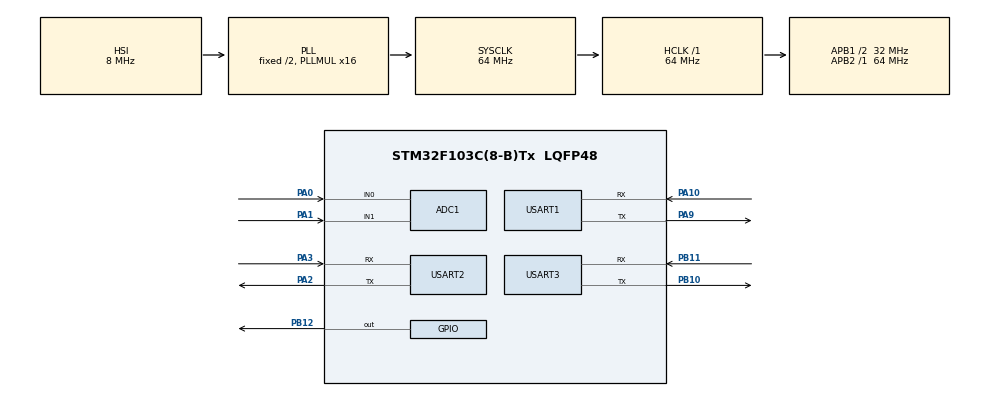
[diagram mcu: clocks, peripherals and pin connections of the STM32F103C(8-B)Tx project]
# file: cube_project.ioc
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ADC1.Channel-0\#ChannelRegularConversion=ADC_CHANNEL_0
ADC1.Channel-1\#ChannelRegularConversion=ADC_CHANNEL_1
ADC1.ContinuousConvMode=DISABLE
ADC1.DiscontinuousConvMode=ENABLE
ADC1.InjNumberOfConversion=0
ADC1.NbrOfConversion=2
ADC1.NbrOfConversionFlag=1
ADC1.Rank-0\#ChannelRegularConversion=1
ADC1.Rank-1\#ChannelRegularConversion=2
ADC1.SamplingTime-0\#ChannelRegularConversion=ADC_SAMPLETIME_1CYCLE_5
ADC1.SamplingTime-1\#ChannelRegularConversion=ADC_SAMPLETIME_1CYCLE_5
ADC1.master=1
Mcu.Family=STM32F1
Mcu.Name=STM32F103C(8-B)Tx
Mcu.Package=LQFP48
NVIC.PriorityGroup=NVIC_PRIORITYGROUP_4
NVIC.TIM3_IRQn=true\:0\:0\:false\:false\:true\:true\:true
NVIC.USART1_IRQn=true\:0\:0\:false\:false\:true\:true\:true
NVIC.USART2_IRQn=true\:0\:0\:false\:false\:true\:true\:true
NVIC.USART3_IRQn=true\:0\:0\:false\:false\:true\:true\:true
PA0-WKUP.Signal=ADCx_IN0
PA1.Signal=ADCx_IN1
PA10.Mode=Asynchronous
PA10.Signal=USART1_RX
PA2.Mode=Asynchronous
PA2.Signal=USART2_TX
PA3.Mode=Asynchronous
PA3.Signal=USART2_RX
PA9.Mode=Asynchronous
PA9.Signal=USART1_TX
PB10.Mode=Asynchronous
PB10.Signal=USART3_TX
PB11.Mode=Asynchronous
PB11.Signal=USART3_RX
PB12.Signal=GPIO_Output
ProjectManager.HeapSize=0x200
ProjectManager.StackSize=0x400
ProjectManager.TargetToolchain=MDK-ARM V5
RCC.ADCPresc=RCC_ADCPCLK2_DIV6
RCC.AHBFreq_Value=64000000
RCC.APB1CLKDivider=RCC_HCLK_DIV2
RCC.APB1Freq_Value=32000000
RCC.APB1TimFreq_Value=64000000
RCC.APB2Freq_Value=64000000
RCC.APB2TimFreq_Value=64000000
RCC.HCLKFreq_Value=64000000
RCC.PLLMUL=RCC_PLL_MUL16
RCC.SYSCLKFreq_VALUE=64000000
RCC.SYSCLKSource=RCC_SYSCLKSOURCE_PLLCLK
RCC.USBFreq_Value=64000000
SH.ADCx_IN0.0=ADC1_IN0,IN0
SH.ADCx_IN1.0=ADC1_IN1,IN1
TIM3.AutoReloadPreload=TIM_AUTORELOAD_PRELOAD_DISABLE
TIM3.Period=3200-1
TIM3.Prescaler=1000
USART1.VirtualMode=VM_ASYNC
USART2.VirtualMode=VM_ASYNC
USART3.VirtualMode=VM_ASYNC
VP_SYS_VS_ND.Mode=No_Debug
VP_TIM3_VS_ClockSourceINT.Mode=Internal
board=custom

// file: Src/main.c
/* USER CODE BEGIN Header */
/**
  ******************************************************************************
  * @file           : main.c
  * @brief          : Main program body
  ******************************************************************************
  * @attention
  *
  * <h2><center>&copy; Copyright (c) 2019 STMicroelectronics.
  * All rights reserved.</center></h2>
  *
  * This software component is licensed by ST under BSD 3-Clause license,
  * the "License"; You may not use this file except in compliance with the
  * License. You may obtain a copy of the License at:
  *                        opensource.org/licenses/BSD-3-Clause
  *
  ******************************************************************************
  */
/* USER CODE END Header */

#include "main.h"
#include "adc.h"
#include "tim.h"
#include "usart.h"
#include "gpio.h"

/* USER CODE BEGIN Includes */
//#define DEBUG_ON
/* USER CODE END Includes */

/* USER CODE BEGIN PV */
uint8_t aRxBuffer1[1];
uint8_t aRxBuffer2[1];
uint8_t aRxBuffer3[1];

unsigned char imu1_buf[33];
unsigned char imu2_buf[33];
unsigned char has_data_uart2 = 0;
unsigned char has_data_uart3 = 0;

/* USER CODE END PV */

void SystemClock_Config(void);

/* USER CODE BEGIN 0 */

#define IMU_DATA_LEN   35

//0-2 acc; 3-5 speed; 6-8 angle;
float imu1_data[9]= {0,0,0,0,0,0,0,0,0};
float imu2_data[9]= {0,0,0,0,0,0,0,0,0};

unsigned char imu1_to_pc_buf[IMU_DATA_LEN];  // send to pc
unsigned char imu2_to_pc_buf[IMU_DATA_LEN];
unsigned char adc1_to_pc_buf[IMU_DATA_LEN];             // head num low high check
unsigned char adc2_to_pc_buf[IMU_DATA_LEN];
unsigned char imu_state = 0;
unsigned int adc_value[4] = {0,0,0,0};

unsigned char my_memcpy(unsigned char *dst, const unsigned char *src, unsigned char count)
{
	if (NULL == dst || NULL == src)
		return 1;
	while(count--)
	{
		*dst++ = *src++;
	}
	return 0;
}

int check_sum(unsigned char *buf)
{
	unsigned char sum = 0;
	int i = 0;

	for (i = 0; i < 10; i++) {
		sum += buf[i];
	}

	if (sum == buf[i]) {
		//printf("check ok.\n");
		return 0;
	}
	else
		return -1;
}

void check_imu(unsigned char *buf, unsigned char id)
{
	unsigned char *temp_buf = 0;
	unsigned char *temp = 0;
	float *imu = 0;

	if(1 == id) {
		imu_state = imu_state | 0x01;
		temp = imu1_to_pc_buf;
		imu = imu1_data;
		temp[0] = 0xAA;  // head
		temp[1] = 0xA1;  // imu1
	} else if(2 == id) {
		imu_state = imu_state | 0x02;
		temp = imu2_to_pc_buf;
		imu = imu2_data;
		temp[0] = 0xAA;  // head
		temp[1] = 0xA2;  // imu2
	}

	my_memcpy((temp+2), buf, 33);
	temp_buf = temp + 2;

	if (check_sum(temp_buf) || check_sum(temp_buf+11) || check_sum(temp_buf+22)) {
		//printf("=====check sum failed. id: %d.\n", id);

		if (1 == id)
			imu_state &= ~0x01;
		else
			imu_state &= ~0x02;
		return;
	}

	if(temp_buf[0]==0x55 && temp_buf[1]==0x51
		&& temp_buf[11]==0x55 && temp_buf[12]==0x52
	    && temp_buf[22]==0x55 && temp_buf[23]==0x53 )
	{
		imu[0] = ((short)(temp_buf[3]<<8 | temp_buf[2]))/32768.0*16;        // X acc
		imu[1] = ((short)(temp_buf[5]<<8 | temp_buf[4]))/32768.0*16;        // Y
		imu[2] = ((short)(temp_buf[7]<<8 | temp_buf[6]))/32768.0*16;        // Z

		imu[3] = ((short)(temp_buf[14]<<8| temp_buf[13]))/32768.0*2000;     // X speed
		imu[4] = ((short)(temp_buf[16]<<8| temp_buf[15]))/32768.0*2000;     // Y
		imu[5] = ((short)(temp_buf[18]<<8| temp_buf[17]))/32768.0*2000;     // Z

		imu[6] = ((short)(temp_buf[25]<<8| temp_buf[24]))/32768.0*180;      // X angle
		imu[7] = ((short)(temp_buf[27]<<8| temp_buf[26]))/32768.0*180;      // Y
		imu[8] = ((short)(temp_buf[29]<<8| temp_buf[28]))/32768.0*180;      // Z

//		if (2 == id)
//			printf("id: %d. \t angle: %.2f \t %.2f \t %.2f \r\n", id, imu[6], imu[7], imu[8]);

	}
}

void pack_adc_buf(unsigned char *buf, unsigned int value, int id)
{
    int i = 0;
    buf[0] = 0xAA;
    buf[1] = 0xB1 + id;
    buf[2] = (value & 0x00ff); // low
    buf[3] = (value >> 8);
    buf[4] = buf[0] + buf[1] + buf[2] + buf[3];

    for(i = 5; i< IMU_DATA_LEN; i++){
        buf[i] = 0;
    }
}

void twinking_led(unsigned char num)
{
    while(num--) {
        HAL_GPIO_WritePin(GPIOB, GPIO_PIN_12, GPIO_PIN_RESET); // LED on
        HAL_Delay(100);
        HAL_GPIO_WritePin(GPIOB, GPIO_PIN_12, GPIO_PIN_SET); // LED off
    }
}

/* USER CODE END 0 */

int main(void)
{
  /* USER CODE BEGIN 1 */
    int i = 0;
  /* USER CODE END 1 */

  /* MCU Configuration--------------------------------------------------------*/

  /* Reset of all peripherals, Initializes the Flash interface and the Systick. */
  HAL_Init();

  /* Configure the system clock */
  SystemClock_Config();

  /* Initialize all configured peripherals */
  MX_GPIO_Init();
  MX_USART2_UART_Init();
  MX_USART3_UART_Init();
  MX_USART1_UART_Init();
  MX_ADC1_Init();
  MX_TIM3_Init();
  /* USER CODE BEGIN 2 */

    HAL_UART_Receive_IT(&huart1, aRxBuffer1, 1);
    HAL_UART_Receive_IT(&huart2, aRxBuffer2, 1);
    HAL_UART_Receive_IT(&huart3, aRxBuffer3, 1);
    HAL_TIM_Base_Start_IT(&htim3);

    HAL_GPIO_WritePin(GPIOB, GPIO_PIN_12, GPIO_PIN_SET); // LED off
  /* USER CODE END 2 */

  /* Infinite loop */
  /* USER CODE BEGIN WHILE */
  while (1)
  {

//	HAL_GPIO_WritePin(GPIOB, GPIO_PIN_12, GPIO_PIN_RESET); // LED on
//	HAL_Delay(100);
//	HAL_GPIO_WritePin(GPIOB, GPIO_PIN_12, GPIO_PIN_SET); // LED off
//	HAL_Delay(100);

//    HAL_GPIO_TogglePin(GPIOB, GPIO_PIN_12);
    HAL_Delay(5);

    if (has_data_uart2) {
        has_data_uart2 = 0;

        check_imu(imu1_buf, 1);
    }

    if (has_data_uart3) {
        has_data_uart3 = 0;

        check_imu(imu2_buf, 2);
    }

    // check imu state.
    if(imu_state == (0x01 | 0x02)) {
        HAL_GPIO_WritePin(GPIOB, GPIO_PIN_12, GPIO_PIN_RESET); // LED on
    } else {
        HAL_GPIO_WritePin(GPIOB, GPIO_PIN_12, GPIO_PIN_SET); // LED off
    }

    // read adc value
    for(i = 0; i < 2; i++) {
        HAL_ADC_Start(&hadc1);
        HAL_ADC_PollForConversion(&hadc1, 0xffff);

        adc_value[i] = HAL_ADC_GetValue(&hadc1);
    }
    HAL_ADC_Stop(&hadc1);

    pack_adc_buf(adc1_to_pc_buf, adc_value[0], 0);
    pack_adc_buf(adc2_to_pc_buf, adc_value[1], 1);

#ifdef DEBUG_ON
        printf("%d,  %d. \n", adc_value[0], adc_value[1]);
        //printf("PA0 Voltage : %.4f \r\n", adc_value[0]*3.3f/4096);
#endif

    /* USER CODE END WHILE */

    /* USER CODE BEGIN 3 */

    //printf("test timer.123\n\n");
    //HAL_UART_Transmit(&huart1, "hello!\r\n", 8, 10);

  }
  /* USER CODE END 3 */
}

void SystemClock_Config(void)
{
  RCC_OscInitTypeDef RCC_OscInitStruct = {0};
  RCC_ClkInitTypeDef RCC_ClkInitStruct = {0};
  RCC_PeriphCLKInitTypeDef PeriphClkInit = {0};

  /** Initializes the CPU, AHB and APB busses clocks
  */
  RCC_OscInitStruct.OscillatorType = RCC_OSCILLATORTYPE_HSI;
  RCC_OscInitStruct.HSIState = RCC_HSI_ON;
  RCC_OscInitStruct.HSICalibrationValue = RCC_HSICALIBRATION_DEFAULT;
  RCC_OscInitStruct.PLL.PLLState = RCC_PLL_ON;
  RCC_OscInitStruct.PLL.PLLSource = RCC_PLLSOURCE_HSI_DIV2;
  RCC_OscInitStruct.PLL.PLLMUL = RCC_PLL_MUL16;
  if (HAL_RCC_OscConfig(&RCC_OscInitStruct) != HAL_OK)
  {
    Error_Handler();
  }
  /** Initializes the CPU, AHB and APB busses clocks
  */
  RCC_ClkInitStruct.ClockType = RCC_CLOCKTYPE_HCLK|RCC_CLOCKTYPE_SYSCLK
                              |RCC_CLOCKTYPE_PCLK1|RCC_CLOCKTYPE_PCLK2;
  RCC_ClkInitStruct.SYSCLKSource = RCC_SYSCLKSOURCE_PLLCLK;
  RCC_ClkInitStruct.AHBCLKDivider = RCC_SYSCLK_DIV1;
  RCC_ClkInitStruct.APB1CLKDivider = RCC_HCLK_DIV2;
  RCC_ClkInitStruct.APB2CLKDivider = RCC_HCLK_DIV1;

  if (HAL_RCC_ClockConfig(&RCC_ClkInitStruct, FLASH_LATENCY_2) != HAL_OK)
  {
    Error_Handler();
  }
  PeriphClkInit.PeriphClockSelection = RCC_PERIPHCLK_ADC;
  PeriphClkInit.AdcClockSelection = RCC_ADCPCLK2_DIV6;
  if (HAL_RCCEx_PeriphCLKConfig(&PeriphClkInit) != HAL_OK)
  {
    Error_Handler();
  }
}

/* USER CODE BEGIN 4 */
void initAngle()
{
    unsigned char data[3] = {0xFF, 0xAA, 0x52};

    HAL_UART_Transmit(&huart2, data, 3, 0xffff);
    HAL_UART_Transmit(&huart3, data, 3, 0xffff);
}

void calibrationACC()
{
    unsigned char data[3] = {0xFF, 0xAA, 0x67};

    HAL_UART_Transmit(&huart2, data, 3, 0xffff);
    HAL_UART_Transmit(&huart3, data, 3, 0xffff);
}

static unsigned char temp_uart1[3];
static unsigned char temp_uart2[11];
static unsigned char temp_uart3[11];

void User_UART1_IRQHandler()
{
    static unsigned char counter = 0;

    temp_uart1[counter] = aRxBuffer1[0];

    if(counter == 0 && temp_uart1[0] != 0xAA) // find head
        return;
    counter++;

    if(counter == 3) { // receive 3 byte
        counter = 0;

        if(temp_uart1[1] == 0x35 && temp_uart1[2] == 0x35) {
            // init angle(clear z)
            initAngle();

            //HAL_GPIO_WritePin(GPIOB, GPIO_PIN_12, GPIO_PIN_RESET); // LED on
        }else if(temp_uart1[1] == 0xCA && temp_uart1[2] == 0xCA) {
            // calibration ACC
            calibrationACC();

            //HAL_GPIO_WritePin(GPIOB, GPIO_PIN_12, GPIO_PIN_SET); // LED off
        }
    }
}

// imu 1
void User_UART2_IRQHandler()
{
    static unsigned char counter = 0;
	static unsigned char temp_imu_state = 0;

    temp_uart2[counter] = aRxBuffer2[0];

    if(counter == 0 && temp_uart2[0] != 0x55) // find head
        return;
    counter++;

    if(counter == 11) { // receive 11 byte
        counter = 0;

        if(temp_uart2[1] == 0x51) {
            my_memcpy(imu1_buf,temp_uart2,11);
            temp_imu_state = temp_imu_state | 0x01;
        }else if(temp_uart2[1] == 0x52) {
            my_memcpy((imu1_buf+11),temp_uart2,11);
            temp_imu_state = temp_imu_state | 0x02;
        }else if(temp_uart2[1] == 0x53) {
            my_memcpy((imu1_buf+22),temp_uart2,11);
            temp_imu_state = temp_imu_state | 0x04;
        }

        if(temp_imu_state == 0x07) {
            // have reveive 3 package.
            temp_imu_state = 0;
            has_data_uart2 = 1;
        }
    }
}

// imu 2
void User_UART3_IRQHandler()
{
	static unsigned char counter = 0;
	static unsigned char temp_imu_state = 0;

    temp_uart3[counter] = aRxBuffer3[0];

    if(counter == 0 && temp_uart3[0] != 0x55) // find head
        return;
    counter++;

    if(counter == 11) { // receive 11 byte
        counter = 0;

        if(temp_uart3[1] == 0x51) {
            my_memcpy(imu2_buf,temp_uart3,11);
            temp_imu_state = temp_imu_state | 0x01;
        }else if(temp_uart3[1] == 0x52) {
            my_memcpy((imu2_buf+11),temp_uart3,11);
            temp_imu_state = temp_imu_state | 0x02;
        }else if(temp_uart3[1] == 0x53) {
            my_memcpy((imu2_buf+22),temp_uart3,11);
            temp_imu_state = temp_imu_state | 0x04;
        }

        if(temp_imu_state == 0x07) {
            // have reveive 3 package.
            temp_imu_state = 0;
            has_data_uart3 = 1;
        }
    }
}

void HAL_UART_RxCpltCallback(UART_HandleTypeDef *huart)
{
    if(huart->Instance == USART1) {
        User_UART1_IRQHandler();

        HAL_UART_Receive_IT(&huart1, aRxBuffer1, 1);
    }

    if(huart->Instance == USART2) {
        User_UART2_IRQHandler();

        HAL_UART_Receive_IT(&huart2, aRxBuffer2, 1);
    }

    if(huart->Instance == USART3) {
        User_UART3_IRQHandler();

        HAL_UART_Receive_IT(&huart3, aRxBuffer3, 1);
    }
}

/*******************************
system clock : 64MHz

64000000/1000 = 64000

64000/3200=20hz  50ms
64000/640=100hz  10ms
********************************/
// current timer : 50ms
void HAL_TIM_PeriodElapsedCallback(TIM_HandleTypeDef *htim)
{
    if (htim->Instance == TIM3) {
        // send data to pc
		if(imu_state & 0x01) {
			imu_state &= (~0x01);

#ifndef DEBUG_ON
            HAL_UART_Transmit(&huart1, imu1_to_pc_buf, 35, 0xffff);
#endif
			//printf("send imu 1.\n");
		}

		if (imu_state & 0x02) {
			imu_state &= (~0x02);

#ifndef DEBUG_ON
            HAL_UART_Transmit(&huart1, imu2_to_pc_buf, 35, 0xffff);
#endif
			//printf("send imu 2.\n");
		}

        // send adc value to pc
#ifndef DEBUG_ON
        HAL_UART_Transmit(&huart1, adc1_to_pc_buf, 35, 0xffff);
        HAL_UART_Transmit(&huart1, adc2_to_pc_buf, 35, 0xffff);
#endif

        //printf("\nHAL_TIM_PeriodElapsedCallback timer3...\n\n");
    }
}

/* USER CODE END 4 */

void Error_Handler(void)
{
}

/************************ (C) COPYRIGHT STMicroelectronics *****END OF FILE****/
